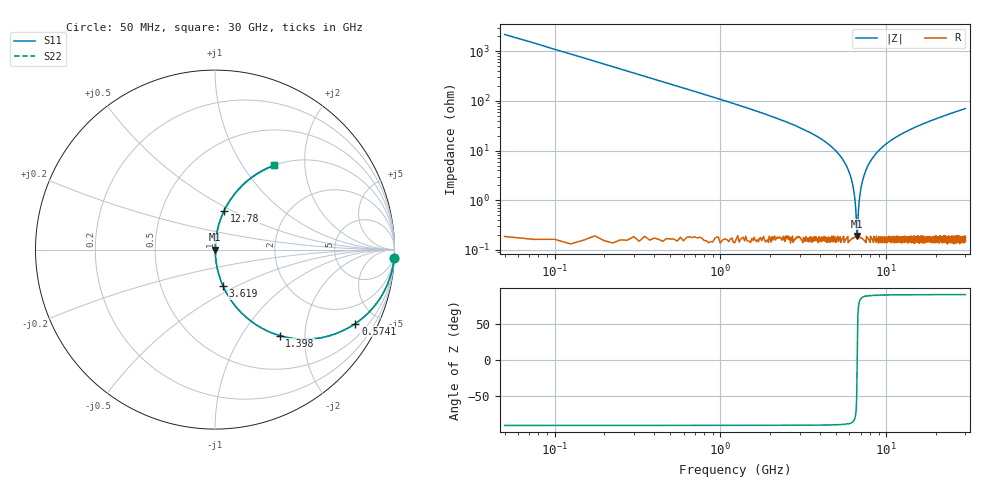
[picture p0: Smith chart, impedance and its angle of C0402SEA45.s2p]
!	AVX Thin Film Operation 	Date: April 2014
!	Description: Accu-P® Series, Thin Film  SMD RF Capacitor
!	Part Number: 04021JA45ZBSTR
# MHZ S MA R 50
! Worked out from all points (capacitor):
!   1201 points, 50 MHz to 30 GHz, reference 50 ohm
!   read as one part in series: C = 1.45 pF near 199.8 MHz
!   lowest |Z| = 191 mohm at 6.664 GHz (marker M1)
!   series resonance near 6.676 GHz, so ESL is about 390 pH
!   S11 on the Smith chart (normalised r, x): 50 MHz: 1, -44; 574.1 MHz: 1.01, -3.79; 1.398 GHz: 1.00, -1.50; 3.619 GHz: 1.00, -0.43; 12.78 GHz: 1.00, +0.46; 30 GHz: 1.00, +1.40
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50  0.999 -2.6  0.046 87.4  0.046 87.4  0.999 -2.6
299.583  0.964 -15.3  0.264 74.7  0.264 74.7  0.964 -15.3
574.125  0.884 -27.8  0.466 62.2  0.466 62.2  0.884 -27.8
1397.75  0.6 -53.0  0.799 36.9  0.799 36.9  0.6 -53.0
2296.25  0.388 -67.0  0.92 22.8  0.92 22.8  0.388 -67.0
3619.042  0.209 -77.5  0.976 12.1  0.976 12.1  0.209 -77.5
5041.667  0.093 -83.7  0.994 5.3  0.994 5.3  0.093 -83.7
6139.833  0.028 -85.0  0.998 1.6  0.998 1.6  0.028 -85.0
6364.458  0.016 -83.1  0.998 0.9  0.998 0.9  0.016 -83.1
6564.125  0.005768 -73.2  0.998 0.3  0.998 0.3  0.005768 -73.2
6663.958  0.001736 -19.3  0.998 0.0  0.998 0.0  0.001736 -19.3
6763.792  0.004608 68.9  0.998 -0.2  0.998 -0.2  0.004608 68.9
6913.542  0.012 81.2  0.998 -0.7  0.998 -0.7  0.012 81.2
7063.292  0.019 83.9  0.998 -1.1  0.998 -1.1  0.019 83.9
7587.417  0.042 85.4  0.997 -2.4  0.997 -2.4  0.042 85.4
8610.708  0.084 84.1  0.995 -4.8  0.995 -4.8  0.084 84.1
10058.29  0.137 81.4  0.989 -7.9  0.989 -7.9  0.137 81.4
12778.75  0.223 76.7  0.973 -12.9  0.973 -12.9  0.223 76.7
15025  0.284 73.2  0.957 -16.5  0.957 -16.5  0.284 73.2
20016.67  0.401 66.2  0.915 -23.6  0.915 -23.6  0.401 66.2
25033.29  0.496 60.1  0.867 -29.8  0.867 -29.8  0.496 60.1
30000  0.574 54.8  0.817 -35.0  0.817 -35.0  0.574 54.8
